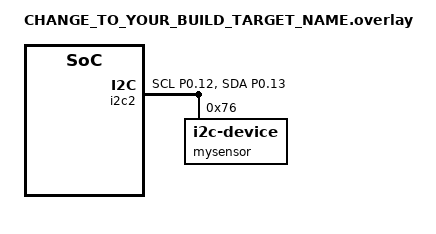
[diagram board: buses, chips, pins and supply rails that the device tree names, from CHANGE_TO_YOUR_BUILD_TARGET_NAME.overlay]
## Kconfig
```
#
# Copyright (c) 2024 Nordic Semiconductor
#
# SPDX-License-Identifier: LicenseRef-Nordic-5-Clause
#

config CARRIER
	int "Carrier to use"
	default 0
	help
	   The availability of the channels and the exact regulation to use them varies in different countries.
	   See ETSI TS 103 636-2 5.4.2 for the calculation.

config NETWORK_ID
	int "Network ID"
	range 1 4294967295
	default 91

config MCS
	int "MCS"
	default 1
	help
	   The MCS impacts how much data can fit into each subslot.

config TX_POWER
	int "TX power"
	range 0 13
	default 13
	help
	   Transmission power, max 19 dBm due to hardware limitations.
	   See table 6.2.1-3 of ETSI TS 103 636-4 v1.5.1.

config TX_TRANSMISSIONS
	int "TX transmissions"
	range 0 4294967295
	default 0
	help
	   Transmissions before sample exits, use 0 to transmit forever.

config RX_PERIOD_S
	int "RX period"
	default 5
	help
	   Receive window period.
	   Time is given in seconds.

module = DECT_PHY_HELLO
module-str = DECT NR+ PHY Hello
source "${ZEPHYR_BASE}/subsys/logging/Kconfig.template.log_config"

menu "Zephyr Kernel"
source "Kconfig.zephyr"
endmenu
```

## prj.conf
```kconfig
CONFIG_NRF_MODEM_LIB=y

CONFIG_MODEM_ANTENNA=n

CONFIG_NRF_MODEM_LINK_BINARY_DECT_PHY=y
CONFIG_HWINFO=y

CONFIG_LOG=y

CONFIG_I2C=y

CONFIG_CBPRINTF_FP_SUPPORT=y
```

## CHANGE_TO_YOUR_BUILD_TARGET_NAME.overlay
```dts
/* Step 5.2 Put an overlay content here */
&i2c2 {
    status = "okay";
    pinctrl-0 = <&i2c2_default>;
	  pinctrl-1 = <&i2c2_sleep>;
    pinctrl-names = "default", "sleep";
    mysensor: mysensor@76{
        compatible = "i2c-device";
        status = "okay";
        reg = < 0x76 >;
    };
};

&pinctrl {
	/omit-if-no-ref/ i2c2_default: i2c2_default {
		group1  {
			psels = <NRF_PSEL(TWIM_SCL, 0, 12)>,
					    <NRF_PSEL(TWIM_SDA, 0, 13)>;
		};
	};

	/omit-if-no-ref/ i2c2_sleep: i2c2_sleep {
		group1  {
			psels = <NRF_PSEL(TWIM_SCL, 0, 12)>,
					    <NRF_PSEL(TWIM_SDA, 0, 13)>;
			low-power-enable;
		};
	};
};
```

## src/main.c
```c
/*
 * Copyright (c) 2024 Nordic Semiconductor ASA
 *
 * SPDX-License-Identifier: LicenseRef-Nordic-5-Clause
 */
#include <string.h>
#include <zephyr/kernel.h>
#include <zephyr/logging/log.h>
#include <nrf_modem_dect_phy.h>
#include <modem/nrf_modem_lib.h>
#include <zephyr/drivers/hwinfo.h>

#include <zephyr/device.h>
#include <zephyr/devicetree.h>
#include <zephyr/drivers/i2c.h>
#include <zephyr/sys/printk.h>

LOG_MODULE_REGISTER(app);

BUILD_ASSERT(CONFIG_CARRIER, "Carrier must be configured according to local regulations");

#define DATA_LEN_MAX 32

static bool exit;
static uint16_t device_id;

/* Header type 1, due to endianness the order is different than in the specification. */
struct phy_ctrl_field_common {
	uint32_t packet_length : 4;
	uint32_t packet_length_type : 1;
	uint32_t header_format : 3;
	uint32_t short_network_id : 8;
	uint32_t transmitter_id_hi : 8;
	uint32_t transmitter_id_lo : 8;
	uint32_t df_mcs : 3;
	uint32_t reserved : 1;
	uint32_t transmit_power : 4;
	uint32_t pad : 24;
};

/* Semaphore to synchronize modem calls. */
K_SEM_DEFINE(operation_sem, 0, 1);

/* Callback after init operation. */
static void init(const uint64_t *time, int16_t temp, enum nrf_modem_dect_phy_err err,
	  const struct nrf_modem_dect_phy_modem_cfg *cfg)
{
	if (err) {
		LOG_ERR("Init failed, err %d", err);
		exit = true;
		return;
	}

	k_sem_give(&operation_sem);
}

/* Callback after deinit operation. */
static void deinit(const uint64_t *time, enum nrf_modem_dect_phy_err err)
{
	if (err) {
		LOG_ERR("Deinit failed, err %d", err);
		return;
	}

	k_sem_give(&operation_sem);
}

/* Operation complete notification. */
static void op_complete(const uint64_t *time, int16_t temperature,
		 enum nrf_modem_dect_phy_err err, uint32_t handle)
{
	LOG_DBG("op_complete cb time %"PRIu64" status %d", *time, err);
	k_sem_give(&operation_sem);
}

/* Callback after receive stop operation. */
static void rx_stop(const uint64_t *time, enum nrf_modem_dect_phy_err err, uint32_t handle)
{
	LOG_DBG("rx_stop cb time %"PRIu64" status %d handle %d", *time, err, handle);
	k_sem_give(&operation_sem);
}

/* Physical Control Channel reception notification. */
static void pcc(
	const uint64_t *time,
	const struct nrf_modem_dect_phy_rx_pcc_status *status,
	const union nrf_modem_dect_phy_hdr *hdr)
{
	struct phy_ctrl_field_common *header = (struct phy_ctrl_field_common *)hdr->type_1;

	LOG_INF("Received header from device ID %d",
		header->transmitter_id_hi << 8 |  header->transmitter_id_lo);
}

/* Physical Control Channel CRC error notification. */
static void pcc_crc_err(const uint64_t *time,
		 const struct nrf_modem_dect_phy_rx_pcc_crc_failure *crc_failure)
{
	LOG_DBG("pcc_crc_err cb time %"PRIu64"", *time);
}

/* Physical Data Channel reception notification. */
static void pdc(const uint64_t *time,
		const struct nrf_modem_dect_phy_rx_pdc_status *status,
		const void *data, uint32_t len)
{
	
	/* Received RSSI value is in fixed precision format Q14.1 */
	LOG_INF("Received data (RSSI: %d.%d): %s",
		(status->rssi_2 / 2), (status->rssi_2 & 0b1) * 5, (char *)data);
}

/* Physical Data Channel CRC error notification. */
static void pdc_crc_err(
	const uint64_t *time, const struct nrf_modem_dect_phy_rx_pdc_crc_failure *crc_failure)
{
	LOG_DBG("pdc_crc_err cb time %"PRIu64"", *time);
}

/* RSSI measurement result notification. */
static void rssi(const uint64_t *time, const struct nrf_modem_dect_phy_rssi_meas *status)
{
	LOG_DBG("rssi cb time %"PRIu64" carrier %d", *time, status->carrier);
}

/* Callback after link configuration operation. */
static void link_config(const uint64_t *time, enum nrf_modem_dect_phy_err err)
{
	LOG_DBG("link_config cb time %"PRIu64" status %d", *time, err);
}

/* Callback after time query operation. */
static void time_get(const uint64_t *time, enum nrf_modem_dect_phy_err err)
{
	LOG_DBG("time_get cb time %"PRIu64" status %d", *time, err);
}

/* Callback after capability get operation. */
static void capability_get(const uint64_t *time, enum nrf_modem_dect_phy_err err,
		    const struct nrf_modem_dect_phy_capability *capability)
{
	LOG_DBG("capability_get cb time %"PRIu64" status %d", *time, err);
}

static void stf_cover_seq_control(const uint64_t *time, enum nrf_modem_dect_phy_err err)
{
	LOG_WRN("Unexpectedly in %s\n", (__func__));
}

/* Dect PHY callbacks. */
static struct nrf_modem_dect_phy_callbacks dect_phy_callbacks = {
	.init = init,
	.deinit = deinit,
	.op_complete = op_complete,
	.rx_stop = rx_stop,
	.pcc = pcc,
	.pcc_crc_err = pcc_crc_err,
	.pdc = pdc,
	.pdc_crc_err = pdc_crc_err,
	.rssi = rssi,
	.link_config = link_config,
	.time_get = time_get,
	.capability_get = capability_get,
	.stf_cover_seq_control = stf_cover_seq_control,
};

/* Dect PHY init parameters. */
static struct nrf_modem_dect_phy_init_params dect_phy_init_params = {
	.harq_rx_expiry_time_us = 5000000,
	.harq_rx_process_count = 4,
};

/* Send operation. */
static int transmit(uint32_t handle, void *data, size_t data_len)
{
	int err;

	struct phy_ctrl_field_common header = {
		.header_format = 0x0,
		.packet_length_type = 0x0,
		.packet_length = 0x01,
		.short_network_id = (CONFIG_NETWORK_ID & 0xff),
		.transmitter_id_hi = (device_id >> 8),
		.transmitter_id_lo = (device_id & 0xff),
		.transmit_power = CONFIG_TX_POWER,
		.reserved = 0,
		.df_mcs = CONFIG_MCS,
	};

	struct nrf_modem_dect_phy_tx_params tx_op_params = {
		.start_time = 0,
		.handle = handle,
		.network_id = CONFIG_NETWORK_ID,
		.phy_type = 0,
		.lbt_rssi_threshold_max = 0,
		.carrier = CONFIG_CARRIER,
		.lbt_period = NRF_MODEM_DECT_LBT_PERIOD_MAX,
		.phy_header = (union nrf_modem_dect_phy_hdr *)&header,
		.data = data,
		.data_size = data_len,
	};

	err = nrf_modem_dect_phy_tx(&tx_op_params);
	if (err != 0) {
		return err;
	}

	return 0;
}

/* Receive operation. */
static int receive(uint32_t handle)
{
	int err;

	struct nrf_modem_dect_phy_rx_params rx_op_params = {
		.start_time = 0,
		.handle = handle,
		.network_id = CONFIG_NETWORK_ID,
		.mode = NRF_MODEM_DECT_PHY_RX_MODE_CONTINUOUS,
		.rssi_interval = NRF_MODEM_DECT_PHY_RSSI_INTERVAL_OFF,
		.link_id = NRF_MODEM_DECT_PHY_LINK_UNSPECIFIED,
		.rssi_level = -60,
		.carrier = CONFIG_CARRIER,
		.duration = CONFIG_RX_PERIOD_S * MSEC_PER_SEC *
			    NRF_MODEM_DECT_MODEM_TIME_TICK_RATE_KHZ,
		.filter.short_network_id = CONFIG_NETWORK_ID & 0xff,
		.filter.is_short_network_id_used = 1,
		/* listen for everything (broadcast mode used) */
		.filter.receiver_identity = 0,
	};

	err = nrf_modem_dect_phy_rx(&rx_op_params);
	if (err != 0) {
		return err;
	}

	return 0;
}
/*BME FUNCTIONS BEGIN
*************************************************************************
*/
#define SLEEP_TIME_MS 1000

/* STEP 8 - Define the I2C slave device address and the addresses of relevant registers */
#define CTRLMEAS 0xF4
#define CALIB00	 0x88
#define ID	     0xD0
#define TEMPMSB	 0xFA

#define CHIP_ID  0x60
#define SENSOR_CONFIG_VALUE 0x93

/* STEP 6 - Get the node identifier of the sensor */
#define I2C_NODE DT_NODELABEL(mysensor)

/* Data structure to store BME280 data */
struct bme280_data {
	/* Compensation parameters */
	uint16_t dig_t1;
	int16_t dig_t2;
	int16_t dig_t3;
} bmedata;


void bme_calibrationdata(const struct i2c_dt_spec *spec, struct bme280_data *sensor_data_ptr)
{
	/* Step 10 - Put calibration function code */
	uint8_t values[6];

	int ret = i2c_burst_read_dt(spec, CALIB00, values, 6);

	if (ret != 0) {
		printk("Failed to read register %x \n", CALIB00);
		return;
	}

	sensor_data_ptr->dig_t1 = ((uint16_t)values[1]) << 8 | values[0];
	sensor_data_ptr->dig_t2 = ((uint16_t)values[3]) << 8 | values[2];
	sensor_data_ptr->dig_t3 = ((uint16_t)values[5]) << 8 | values[4];
	
}

/* Compensate current temperature using previously stored sensor calibration data */
static int32_t bme280_compensate_temp(struct bme280_data *data, int32_t adc_temp)
{
	int32_t var1, var2;

	var1 = (((adc_temp >> 3) - ((int32_t)data->dig_t1 << 1)) * ((int32_t)data->dig_t2)) >> 11;

	var2 = (((((adc_temp >> 4) - ((int32_t)data->dig_t1)) *
		  ((adc_temp >> 4) - ((int32_t)data->dig_t1))) >>
		 12) *
		((int32_t)data->dig_t3)) >>
	       14;

	return ((var1 + var2) * 5 + 128) >> 8;
}

/*BME FUNCTIONS END
*************************************************************************
*/

int main(void)
{
	/* bme part begin
	*************************************************************************
	*/
	static const struct i2c_dt_spec dev_i2c = I2C_DT_SPEC_GET(I2C_NODE);
	uint8_t id = 0;
	uint8_t regs[] = {ID};
	int ret = i2c_write_read_dt(&dev_i2c, regs, 1, &id, 1);
	bme_calibrationdata(&dev_i2c, &bmedata);
	uint8_t sensor_config[] = {CTRLMEAS, SENSOR_CONFIG_VALUE};
	ret = i2c_write_dt(&dev_i2c, sensor_config, 2);
	/* bme part end
	*************************************************************************
	*/
	int err;
	uint32_t tx_handle = 0;
	uint32_t rx_handle = 1;
	uint32_t tx_counter_value = 0;
	uint8_t tx_buf[DATA_LEN_MAX];
	size_t tx_len;

	LOG_INF("Dect NR+ PHY Hello sample started");

	err = nrf_modem_lib_init();
	if (err) {
		LOG_ERR("modem init failed, err %d", err);
		return err;
	}

	err = nrf_modem_dect_phy_callback_set(&dect_phy_callbacks);
	if (err) {
		LOG_ERR("nrf_modem_dect_phy_callback_set failed, err %d", err);
		return err;
	}

	err = nrf_modem_dect_phy_init(&dect_phy_init_params);
	if (err) {
		LOG_ERR("nrf_modem_dect_phy_init failed, err %d", err);
		return err;
	}

	k_sem_take(&operation_sem, K_FOREVER);
	if (exit) {
		return -EIO;
	}

	hwinfo_get_device_id((void *)&device_id, sizeof(device_id));

	LOG_INF("Dect NR+ PHY initialized, device ID: %d", device_id);

	err = nrf_modem_dect_phy_capability_get();
	if (err) {
		LOG_ERR("nrf_modem_dect_phy_capability_get failed, err %d", err);
	}
	tx_counter_value = 0x7FFFFFFF;
	while (1) {
		/* BME PART BEGIN*/
		uint8_t temp_val[3] = {0};
		int ret = i2c_burst_read_dt(&dev_i2c, TEMPMSB, temp_val, 3);
		int32_t adc_temp =
		(temp_val[0] << 12) | (temp_val[1] << 4) | ((temp_val[2] >> 4) & 0x0F);

		int32_t comp_temp = bme280_compensate_temp(&bmedata, adc_temp);

		float temperature = (float)comp_temp / 100.0f;
		double fTemp = (double)temperature * 1.8 + 32;

		printk("Temperature in Celsius : %8.2f C\n", (double)temperature);
		printk("Temperature in Fahrenheit : %.2f F\n", fTemp);
		printk("Test %d",nrf_modem_dect_phy_time_get());
		/* BME PART END*/


		/** Transmitting message */
		LOG_INF("Transmitting %8.2f", (double)temperature);
		tx_len = sprintf(tx_buf,"%8.2f", (double)temperature);

		err = transmit(tx_handle, tx_buf, tx_len);
		if (err) {
			LOG_ERR("Transmisstion failed, err %x", err);
			return err;
		}

		/**tx_counter_value++; */

		/**if ((tx_counter_value >= CONFIG_TX_TRANSMISSIONS) && CONFIG_TX_TRANSMISSIONS) {
			LOG_INF("Reached maximum number of transmissions (%d)",
				CONFIG_TX_TRANSMISSIONS);
			break;
		}*/

		/* Wait for TX operation to complete. */
		k_sem_take(&operation_sem, K_FOREVER);

		/** Receiving messages for CONFIG_RX_PERIOD_S seconds. */
		err = receive(rx_handle);
		if (err) {
			LOG_ERR("Reception failed, err %d", err);
			return err;
		}

		/* Wait for RX operation to complete. */
		k_sem_take(&operation_sem, K_FOREVER);
	}

	LOG_INF("Shutting down");

	err = nrf_modem_dect_phy_deinit();
	if (err) {
		LOG_ERR("nrf_modem_dect_phy_deinit() failed, err %d", err);
		return err;
	}

	k_sem_take(&operation_sem, K_FOREVER);

	err = nrf_modem_lib_shutdown();
	if (err) {
		LOG_ERR("nrf_modem_lib_shutdown() failed, err %d", err);
		return err;
	}

	LOG_INF("Bye!");

	return 0;
}
```
